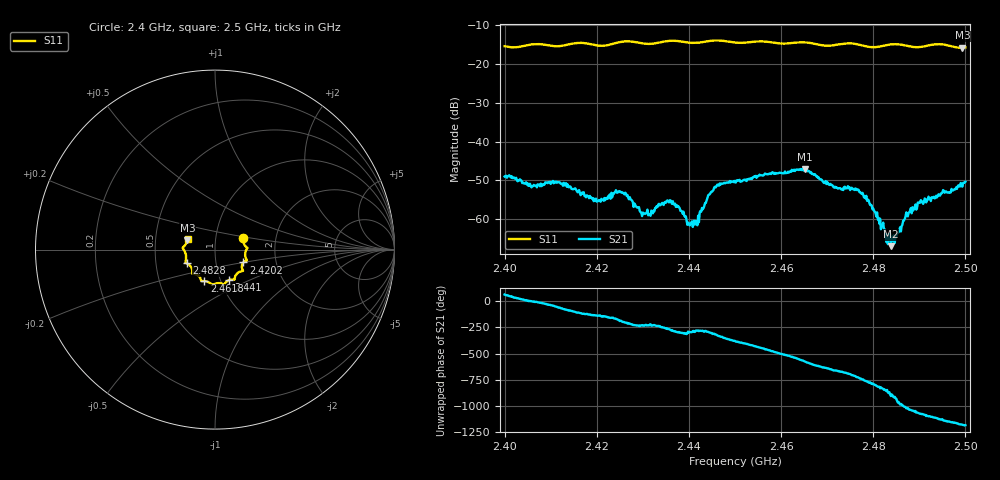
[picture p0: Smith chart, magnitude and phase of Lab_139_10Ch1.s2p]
# Hz S RI R 50
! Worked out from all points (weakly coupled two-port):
!   601 points, 2.4 GHz to 2.5 GHz, reference 50 ohm
!   highest |S21| = -47.01 dB at 2.4652 GHz (marker M1); lowest = -66.9 dB at 2.4838 GHz (marker M2)
!   lowest |S11| = -15.8 dB at 2.4993 GHz (marker M3), VSWR 1.39, Z = 36.5 + j3.88 ohm
!   |S11| at or under -10 dB: start of sweep to end of sweep
!   S12 and S22 are empty: the file has one direction only
!   S11 on the Smith chart (normalised r, x): 2.4 GHz: 1.36, +0.17; 2.4202 GHz: 1.36, -0.20; 2.441 GHz: 1.10, -0.39; 2.4618 GHz: 0.84, -0.30; 2.4828 GHz: 0.72, -0.11; 2.5 GHz: 0.73, +0.09
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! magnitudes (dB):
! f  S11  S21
! 2.4 GHz  -15.4  -49.0
! 2.4057 GHz  -15.0  -51.5
! 2.4115 GHz  -15.4  -50.4
! 2.4167 GHz  -14.5  -53.5
! 2.4202 GHz  -15.2  -55.3
! 2.4247 GHz  -14.4  -52.8
! 2.43 GHz  -14.7  -58.3
! 2.4333 GHz  -14.5  -56.2
! 2.4363 GHz  -14.0  -56.0
! 2.441 GHz  -14.6  -61.2
! 2.4458 GHz  -13.9  -51.8
! 2.45 GHz  -14.5  -50.5
! 2.4618 GHz  -14.6  -47.8
! 2.4652 GHz  -14.4  -47.0
! 2.4667 GHz  -14.6  -48.3
! 2.4772 GHz  -15.1  -53.0
! 2.4828 GHz  -15.1  -65.8
! 2.4833 GHz  -15.0  -63.8
! 2.4838 GHz  -14.9  -66.9
! 2.4902 GHz  -15.6  -55.7
! 2.4993 GHz  -15.8  -51.6
! 2.5 GHz  -15.7  -50.3
